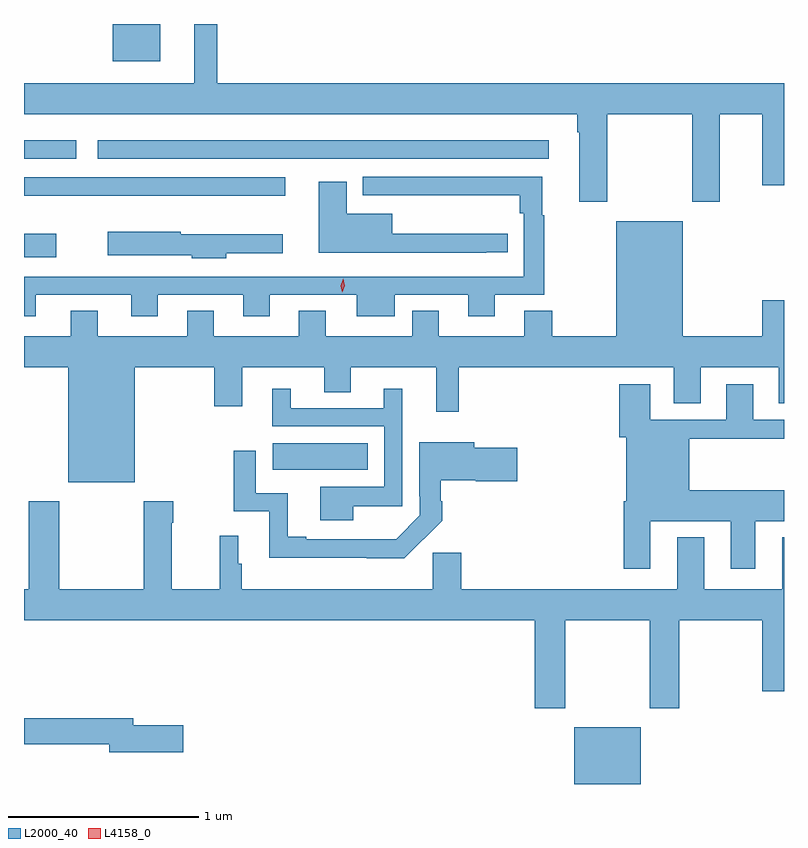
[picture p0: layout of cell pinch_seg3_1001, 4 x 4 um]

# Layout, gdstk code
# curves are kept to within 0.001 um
import gdstk
lib = gdstk.Library(unit=1e-6, precision=1e-09)
def R(c, l, rs):  # rectangles x0, y0, x1, y1
    for r in rs: c.add(gdstk.rectangle(r[:2], r[2:], *l))
def P(c, l, *ps):  # polygons
    for p in ps: c.add(gdstk.Polygon(p, *l))
L2000_40 = (2000, 40)
L4158_0 = (4158, 0)

pinch_seg3_1001 = lib.new_cell('pinch_seg3_1001')
R(pinch_seg3_1001, L2000_40, [(415.766,678.743,416.116,679.042), (414.18,680.396,414.68,680.536), (412.87,681.515,413.041,681.638), (412.87,681.839,414.244,681.936), (412.87,682.035,413.146,682.132), (413.259,682.035,415.633,682.132), (413.336,682.547,413.587,682.743)])
P(pinch_seg3_1001, L2000_40, [(415.941,682.268),(416.386,682.268),(416.386,681.807),(416.533,681.807),(416.533,682.268),(416.756,682.268),(416.756,681.894),(416.87,681.894),(416.87,682.432),(413.887,682.432),(413.887,682.743),(413.765,682.743),(413.765,682.432),(412.87,682.432),(412.87,682.268),(415.781,682.268),(415.781,682.172),(415.793,682.172),(415.793,681.807),(415.941,681.807)],
  [(412.933,681.318),(413.435,681.318),(413.435,681.206),(413.575,681.206),(413.575,681.318),(414.023,681.318),(414.023,681.206),(414.163,681.206),(414.163,681.318),(414.62,681.318),(414.62,681.206),(414.82,681.206),(414.82,681.318),(415.208,681.318),(415.208,681.206),(415.348,681.206),(415.348,681.318),(415.609,681.318),(415.609,681.736),(415.598,681.736),(415.598,681.939),(414.653,681.939),(414.653,681.843),(414.904,681.843),(414.904,681.842),(415.48,681.842),(415.48,681.746),(415.5,681.746),(415.5,681.414),(412.87,681.414),(412.87,681.206),(412.933,681.206)],
  [(414.704,681.54),(415.304,681.54),(415.304,681.541),(415.415,681.541),(415.415,681.638),(414.808,681.638),(414.808,681.745),(414.568,681.745),(414.568,681.913),(414.422,681.913),(414.422,681.539),(414.704,681.539)],
  [(413.452,680.936),(413.872,680.936),(413.872,680.73),(414.019,680.73),(414.019,680.936),(414.449,680.936),(414.449,680.806),(414.589,680.806),(414.589,680.936),(415.04,680.936),(415.04,680.703),(415.157,680.703),(415.157,680.936),(416.291,680.936),(416.291,680.746),(416.431,680.746),(416.431,680.936),(416.843,680.936),(416.843,680.746),(416.87,680.746),(416.87,681.289),(416.756,681.289),(416.756,681.1),(416.338,681.1),(416.338,681.706),(415.988,681.706),(415.988,681.1),(415.65,681.1),(415.65,681.233),(415.502,681.233),(415.502,681.1),(415.054,681.1),(415.054,681.233),(414.914,681.233),(414.914,681.1),(414.457,681.1),(414.457,681.233),(414.317,681.233),(414.317,681.1),(413.869,681.1),(413.869,681.233),(413.729,681.233),(413.729,681.1),(413.257,681.1),(413.257,681.233),(413.117,681.233),(413.117,681.1),(412.87,681.1),(412.87,680.936),(413.102,680.936),(413.102,680.33),(413.452,680.33)],
  [(413.934,681.536),(414.232,681.536),(414.232,681.637),(413.694,681.637),(413.694,681.649),(413.31,681.649),(413.31,681.527),(413.754,681.527),(413.754,681.509),(413.934,681.509)],
  [(416.167,680.126),(416.591,680.126),(416.591,679.875),(416.719,679.875),(416.719,680.126),(416.87,680.126),(416.87,680.29),(416.371,680.29),(416.371,680.56),(416.87,680.56),(416.87,680.661),(416.707,680.661),(416.707,680.848),(416.567,680.848),(416.567,680.661),(416.167,680.661),(416.167,680.848),(416.003,680.848),(416.003,680.568),(416.039,680.568),(416.039,680.23),(416.027,680.23),(416.027,679.875),(416.167,679.875)],
  [(414.604,680.204),(414.861,680.204),(414.861,680.824),(414.764,680.824),(414.764,680.721),(414.274,680.721),(414.274,680.824),(414.176,680.824),(414.176,680.625),(414.765,680.625),(414.765,680.308),(414.428,680.308),(414.428,680.132),(414.604,680.132)],
  [(415.07,680.129),(415.07,680.231),(415.063,680.231),(415.063,680.341),(415.248,680.341),(415.248,680.336),(415.465,680.336),(415.465,680.514),(415.24,680.514),(415.24,680.542),(414.951,680.542),(414.951,680.257),(414.954,680.257),(414.954,680.157),(414.829,680.032),(414.355,680.031),(414.355,680.044),(414.259,680.044),(414.259,680.274),(414.09,680.274),(414.09,680.497),(413.974,680.497),(413.974,680.178),(414.161,680.178),(414.161,679.934),(414.673,679.934),(414.673,679.932),(414.872,679.932)],
  [(415.719,679.604),(416.164,679.604),(416.164,679.143),(416.319,679.143),(416.319,679.604),(416.756,679.604),(416.756,679.23),(416.87,679.23),(416.87,680.041),(416.861,680.041),(416.861,679.768),(416.449,679.768),(416.449,680.041),(416.309,680.041),(416.309,679.768),(415.172,679.768),(415.172,679.959),(415.021,679.959),(415.021,679.768),(414.017,679.768),(414.017,679.901),(413.998,679.901),(413.998,680.05),(413.899,680.05),(413.899,679.768),(413.647,679.768),(413.647,680.117),(413.655,680.117),(413.655,680.23),(413.5,680.23),(413.5,679.768),(413.055,679.768),(413.055,680.23),(412.895,680.23),(412.895,679.768),(412.87,679.768),(412.87,679.604),(415.559,679.604),(415.559,679.143),(415.719,679.143)],
  [(413.707,679.052),(413.446,679.052),(413.446,679.088),(412.87,679.088),(412.87,678.952),(413.318,678.952),(413.318,678.91),(413.707,678.91)])
P(pinch_seg3_1001, L4158_0, [(414.546,681.331),(414.546,681.331),(414.538,681.366),(414.549,681.401),(414.55,681.401),(414.55,681.401),(414.558,681.366),(414.546,681.331)])

lib.write_gds('pinch_seg3_1001.gds')
